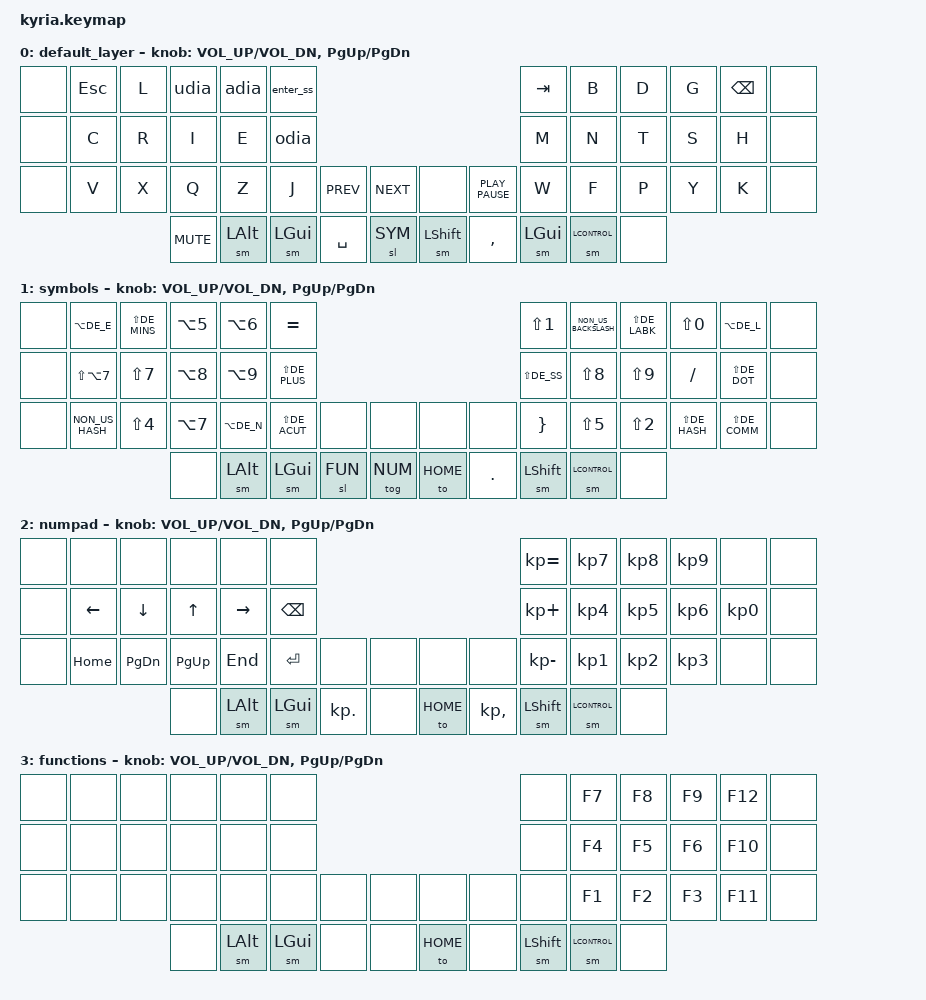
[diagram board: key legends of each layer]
/*
 * Copyright (c) 2020 The ZMK Contributors
 *
 * SPDX-License-Identifier: MIT
 */

#include <behaviors.dtsi>
#include <dt-bindings/zmk/keys.h>

/*
 * ┌───┬───┬───┬───┬───┬───┬───┬───┬───┬───┬───┬───┬───┬─────┐
 * │ ^ │ 1 │ 2 │ 3 │ 4 │ 5 │ 6 │ 7 │ 8 │ 9 │ 0 │ ß │ ´ │     │
 * ├───┴─┬─┴─┬─┴─┬─┴─┬─┴─┬─┴─┬─┴─┬─┴─┬─┴─┬─┴─┬─┴─┬─┴─┬─┴─┬───┤
 * │     │ Q │ W │ E │ R │ T │ Z │ U │ I │ O │ P │ Ü │ + │   │
 * ├─────┴┬──┴┬──┴┬──┴┬──┴┬──┴┬──┴┬──┴┬──┴┬──┴┬──┴┬──┴┬──┴┐  │
 * │      │ A │ S │ D │ F │ G │ H │ J │ K │ L │ Ö │ Ä │ # │  │
 * ├────┬─┴─┬─┴─┬─┴─┬─┴─┬─┴─┬─┴─┬─┴─┬─┴─┬─┴─┬─┴─┬─┴─┬─┴───┴──┤
 * │    │ < │ Y │ X │ C │ V │ B │ N │ M │ , │ . │ - │        │
 * ├────┴┬──┴─┬─┴───┼───┴───┴───┴───┴───┴───┼───┴─┬─┴──┬─────┤
 * │     │    │     │                       │     │    │     │
 * └─────┴────┴─────┴───────────────────────┴─────┴────┴─────┘
 */
// Row 1
#define DE_CIRC GRAVE // ^ (dead)
#define DE_SS   MINUS // ß
#define DE_ACUT EQUAL // ´ (dead)

// Row 2
#define DE_Q    Q            // Q
#define DE_W    W            // W
#define DE_E    E            // E
#define DE_R    R            // R
#define DE_T    T            // T
#define DE_Z    Y            // Z
#define DE_U    U            // U
#define DE_I    I            // I
#define DE_O    O            // O
#define DE_P    P            // P
#define DE_UDIA LEFT_BRACKET // Ü
#define DE_PLUS RIGHT_BRACE  // +

// Row 3
#define DE_A    A            // A
#define DE_S    S            // S
#define DE_D    D            // D
#define DE_F    F            // F
#define DE_G    G            // G
#define DE_H    H            // H
#define DE_J    J            // J
#define DE_K    K            // K
#define DE_L    L            // L
#define DE_ODIA SEMICOLON    // Ö
#define DE_ADIA SINGLE_QUOTE // Ä
#define DE_HASH NON_US_HASH  // #

// Row 4
#define DE_LABK NON_US_BACKSLASH // <
#define DE_Y    Z                // Y
#define DE_X    X                // X
#define DE_C    C                // C
#define DE_V    V                // V
#define DE_B    B                // B
#define DE_N    N                // N
#define DE_M    M                // M
#define DE_COMM COMMA            // ,
#define DE_DOT  PERIOD           // .
#define DE_MINS SLASH            // -

/* Shifted symbols
 * ┌───┬───┬───┬───┬───┬───┬───┬───┬───┬───┬───┬───┬───┬─────┐
 * │ ° │ ! │ " │ § │ $ │ % │ & │ / │ ( │ ) │ = │ ? │ ` │     │
 * ├───┴─┬─┴─┬─┴─┬─┴─┬─┴─┬─┴─┬─┴─┬─┴─┬─┴─┬─┴─┬─┴─┬─┴─┬─┴─┬───┤
 * │     │   │   │   │   │   │   │   │   │   │   │   │ * │   │
 * ├─────┴┬──┴┬──┴┬──┴┬──┴┬──┴┬──┴┬──┴┬──┴┬──┴┬──┴┬──┴┬──┴┐  │
 * │      │   │   │   │   │   │   │   │   │   │   │   │ ' │  │
 * ├────┬─┴─┬─┴─┬─┴─┬─┴─┬─┴─┬─┴─┬─┴─┬─┴─┬─┴─┬─┴─┬─┴─┬─┴───┴──┤
 * │    │ > │   │   │   │   │   │   │   │ ; │ : │ _ │        │
 * ├────┴┬──┴─┬─┴───┼───┴───┴───┴───┴───┴───┼───┴─┬─┴──┬─────┤
 * │     │    │     │                       │     │    │     │
 * └─────┴────┴─────┴───────────────────────┴─────┴────┴─────┘
 */
// Row 1
#define DE_DEG  LS(DE_CIRC) // °
#define DE_EXLM LS(NUMBER_1)    // !
#define DE_DQUO LS(NUMBER_2)    // "
#define DE_SECT LS(NUMBER_3)    // §
#define DE_DLR  LS(NUMBER_4)    // $
#define DE_PERC LS(NUMBER_5)    // %
#define DE_AMPR LS(NUMBER_6)    // &
#define DE_SLSH LS(NUMBER_7)    // /
#define DE_LPRN LS(NUMBER_8)    // (
#define DE_RPRN LS(NUMBER_9)    // )
#define DE_EQL  LS(NUMBER_0)    // =
#define DE_QUES LS(DE_SS)   // ?
#define DE_GRV  LS(DE_ACUT) // ` (dead)
// Row 2
#define DE_ASTR LS(DE_PLUS) // *
// Row 3
#define DE_QUOT LS(DE_HASH) // '
// Row 4
#define DE_RABK LS(DE_LABK) // >
#define DE_SCLN LS(DE_COMM) // ;
#define DE_COLN LS(DE_DOT)  // :
#define DE_UNDS LS(DE_MINS) // _

/* Alted symbols
 * ┌───┬───┬───┬───┬───┬───┬───┬───┬───┬───┬───┬───┬───┬─────┐
 * │ „ │ ¡ │ “ │ ¶ │ ¢ │ [ │ ] │ | │ { │ } │ ≠ │ ¿ │   │     │
 * ├───┴─┬─┴─┬─┴─┬─┴─┬─┴─┬─┴─┬─┴─┬─┴─┬─┴─┬─┴─┬─┴─┬─┴─┬─┴─┬───┤
 * │     │ « │ ∑ │ € │ ® │ † │ Ω │ ¨ │ ⁄ │ Ø │ π │ • │ ± │   │
 * ├─────┴┬──┴┬──┴┬──┴┬──┴┬──┴┬──┴┬──┴┬──┴┬──┴┬──┴┬──┴┬──┴┐  │
 * │      │ Å │ ‚ │ ∂ │ ƒ │ © │ ª │ º │ ∆ │ @ │ Œ │ Æ │ ‘ │  │
 * ├────┬─┴─┬─┴─┬─┴─┬─┴─┬─┴─┬─┴─┬─┴─┬─┴─┬─┴─┬─┴─┬─┴─┬─┴───┴──┤
 * │    │ ≤ │ ¥ │ ≈ │ Ç │ √ │ ∫ │ ~ │ µ │ ∞ │ … │ – │        │
 * ├────┴┬──┴─┬─┴───┼───┴───┴───┴───┴───┴───┼───┴─┬─┴──┬─────┤
 * │     │    │     │                       │     │    │     │
 * └─────┴────┴─────┴───────────────────────┴─────┴────┴─────┘
 */
// Row 1
#define DE_DLQU LA(DE_CIRC) // „
#define DE_IEXL LA(NUMBER_1)    // ¡
#define DE_LDQU LA(NUMBER_2)    // “
#define DE_PILC LA(NUMBER_3)    // ¶
#define DE_CENT LA(NUMBER_4)    // ¢
#define DE_LBRC LA(NUMBER_5)    // [
#define DE_RBRC LA(NUMBER_6)    // ]
#define DE_PIPE LA(NUMBER_7)    // |
#define DE_LCBR LA(NUMBER_8)    // {
#define DE_RCBR LA(NUMBER_9)    // }
#define DE_NEQL LA(NUMBER_0)    // ≠
#define DE_IQUE LA(DE_SS)   // ¿
// Row 2
#define DE_LDAQ LA(DE_Q)    // «
#define DE_NARS LA(DE_W)    // ∑
#define DE_EURO LA(DE_E)    // €
#define DE_REGD LA(DE_R)    // ®
#define DE_DAGG LA(DE_T)    // †
#define DE_OMEG LA(DE_Z)    // Ω
#define DE_DIAE LA(DE_U)    // ¨ (dead)
#define DE_FRSL LA(DE_I)    // ⁄
#define DE_OSTR LA(DE_O)    // Ø
#define DE_PI   LA(DE_P)    // π
#define DE_BULT LA(DE_UDIA) // •
#define DE_PLMN LA(DE_PLUS) // ±
// Row 3
#define DE_ARNG LA(DE_A)    // Å
#define DE_SLQU LA(DE_S)    // ‚
#define DE_PDIF LA(DE_D)    // ∂
#define DE_FHK  LA(DE_F)    // ƒ
#define DE_COPY LA(DE_G)    // ©
#define DE_FORD LA(DE_H)    // ª
#define DE_MORD LA(DE_J)    // º
#define DE_INCR LA(DE_K)    // ∆
#define DE_AT   LA(DE_L)    // @
#define DE_OE   LA(DE_ODIA) // Œ
#define DE_AE   LA(DE_ADIA) // Æ
#define DE_LSQU LA(DE_HASH) // ‘
// Row 4
#define DE_LTEQ LA(DE_LABK) // ≤
#define DE_YEN  LA(DE_Y)    // ¥
#define DE_AEQL LA(DE_X)    // ≈
#define DE_CCCE LA(DE_C)    // Ç
#define DE_SQRT LA(DE_V)    // √
#define DE_INTG LA(DE_B)    // ∫
#define DE_TILD LA(DE_N)    // ~ (dead)
#define DE_MICR LA(DE_M)    // µ
#define DE_INFN LA(DE_COMM) // ∞
#define DE_ELLP LA(DE_DOT)  // …
#define DE_NDSH LA(DE_MINS) // –

/* Shift+Alted symbols
 * ┌───┬───┬───┬───┬───┬───┬───┬───┬───┬───┬───┬───┬───┬─────┐
 * │   │ ¬ │ ” │   │ £ │ ﬁ │   │ \ │ ˜ │ · │ ¯ │ ˙ │ ˚ │     │
 * ├───┴─┬─┴─┬─┴─┬─┴─┬─┴─┬─┴─┬─┴─┬─┴─┬─┴─┬─┴─┬─┴─┬─┴─┬─┴─┬───┤
 * │     │ » │   │ ‰ │ ¸ │ ˝ │ ˇ │ Á │ Û │   │ ∏ │   │  │   │
 * ├─────┴┬──┴┬──┴┬──┴┬──┴┬──┴┬──┴┬──┴┬──┴┬──┴┬──┴┬──┴┬──┴┐  │
 * │      │   │ Í │ ™ │ Ï │ Ì │ Ó │ ı │   │ ﬂ │   │   │   │  │
 * ├────┬─┴─┬─┴─┬─┴─┬─┴─┬─┴─┬─┴─┬─┴─┬─┴─┬─┴─┬─┴─┬─┴─┬─┴───┴──┤
 * │    │ ≥ │ ‡ │ Ù │   │ ◊ │ ‹ │ › │ ˘ │ ˛ │ ÷ │ — │        │
 * ├────┴┬──┴─┬─┴───┼───┴───┴───┴───┴───┴───┼───┴─┬─┴──┬─────┤
 * │     │    │     │                       │     │    │     │
 * └─────┴────┴─────┴───────────────────────┴─────┴────┴─────┘
 */
// Row 1
#define DE_NOT  LS(LA(NUMBER_1))    // ¬
#define DE_RDQU LS(LA(NUMBER_2))    // ”
#define DE_PND  LS(LA(NUMBER_4))    // £
#define DE_FI   LS(LA(NUMBER_5))    // ﬁ
#define DE_BSLS LS(LA(NUMBER_7))    // (backslash)
#define DE_STIL LS(LA(NUMBER_8))    // ˜
#define DE_MDDT LS(LA(NUMBER_9))    // ·
#define DE_MACR LS(LA(NUMBER_0))    // ¯
#define DE_DOTA LS(LA(DE_SS))   // ˙
#define DE_RNGA LS(LA(DE_ACUT)) // ˚
// Row 2
#define DE_RDAQ LS(LA(DE_Q))    // »
#define DE_PERM LS(LA(DE_E))    // ‰
#define DE_CEDL LS(LA(DE_R))    // ¸
#define DE_DACU LS(LA(DE_T))    // ˝
#define DE_CARN LS(LA(DE_Z))    // ˇ
#define DE_AACU LS(LA(DE_U))    // Á
#define DE_UCIR LS(LA(DE_I))    // Û
#define DE_NARP LS(LA(DE_P))    // ∏
#define DE_APPL LS(LA(DE_PLUS)) //  (Apple logo)
// Row 3
#define DE_IACU LS(LA(DE_S))    // Í
#define DE_TM   LS(LA(DE_D))    // ™
#define DE_IDIA LS(LA(DE_F))    // Ï
#define DE_IGRV LS(LA(DE_G))    // Ì
#define DE_OACU LS(LA(DE_H))    // Ó
#define DE_DLSI LS(LA(DE_J))    // ı
#define DE_FL   LS(LA(DE_L))    // ﬂ
// Row 4
#define DE_GTEQ LS(LA(DE_LABK)) // ≥
#define DE_DDAG LS(LA(DE_Y))    // ‡
#define DE_UGRV LS(LA(DE_X))    // Ù
#define DE_LOZN LS(LA(DE_V))    // ◊
#define DE_LSAQ LS(LA(DE_B))    // ‹
#define DE_RSAQ LS(LA(DE_N))    // ›
#define DE_BREV LS(LA(DE_M))    // ˘
#define DE_OGON LS(LA(DE_COMM)) // ˛
#define DE_DIV  LS(LA(DE_DOT))  // ÷

#define DEFAULT 0
#define SYM     1
#define NUM     2
#define FUN     3

#define NONE 0

/ {

     behaviors {
        adia: adia {
            compatible = "zmk,behavior-mod-morph";
            label = "adia";
            #binding-cells = <0>;
            bindings = <&kp A>, <&kp DE_ADIA>;
            mods = <(MOD_RALT)>;
        };
        odia: odia {
            compatible = "zmk,behavior-mod-morph";
            label = "odia";
            #binding-cells = <0>;
            bindings = <&kp O>, <&kp DE_ODIA>;
            mods = <(MOD_RALT)>;
        };
        udia: udia {
            compatible = "zmk,behavior-mod-morph";
            label = "udia";
            #binding-cells = <0>;
            bindings = <&kp U>, <&kp DE_UDIA>;
            mods = <(MOD_RALT)>;
        };
        enter_ss: enter_ss {
            compatible = "zmk,behavior-mod-morph";
            label = "enter_ss";
            #binding-cells = <0>;
            bindings = <&kp ENTER>, <&kp DE_SS>;
            mods = <(MOD_RALT)>;
        };
    };

    keymap {
        compatible = "zmk,keymap";

        default_layer {
            bindings = <
            &none &kp ESCAPE &kp DE_L &udia      &adia    &enter_ss                                                  &kp TAB  &kp DE_B     &kp DE_D &kp DE_G &kp BACKSPACE &none
            &none &kp DE_C   &kp DE_R &kp DE_I   &kp DE_E &odia                                                      &kp DE_M &kp DE_N     &kp DE_T &kp DE_S &kp DE_H      &none
            &none &kp DE_V   &kp DE_X &kp DE_Q   &kp DE_Y &kp DE_J &kp K_PREV &kp K_NEXT &none      &kp K_PLAY_PAUSE &kp DE_W &kp DE_F     &kp DE_P &kp DE_Z &kp DE_K      &none
                                      &kp K_MUTE &sm LALT &sm LGUI &kp SPACE  &sl SYM    &sm LSHIFT &kp DE_COMM      &sm LGUI &sm LCONTROL &none
            >;

            sensor-bindings = <&inc_dec_kp C_VOL_UP C_VOL_DN &inc_dec_kp PG_UP PG_DN>;
        };

        symbols {
            bindings =< 
            &none &kp DE_EURO &kp DE_UNDS &kp DE_LBRC &kp DE_RBRC &kp DE_ACUT                                      &kp DE_EXLM &kp DE_LABK &kp DE_RABK &kp DE_EQL  &kp DE_AT   &none
            &none &kp DE_BSLS &kp DE_SLSH &kp DE_LCBR &kp DE_RCBR &kp DE_ASTR                                      &kp DE_QUES &kp DE_LPRN &kp DE_RPRN &kp DE_MINS &kp DE_COLN &none
            &none &kp DE_HASH &kp DE_DLR  &kp DE_PIPE &kp DE_TILD &kp DE_GRV  &none   &none    &none    &none      &kp DE_PLUS &kp DE_PERC &kp DE_DQUO &kp DE_QUOT &kp DE_SCLN &none
                                          &none       &sm LALT    &sm LGUI    &sl FUN &tog NUM &to HOME &kp DE_DOT &sm LSHIFT  &sm LCONTROL &none
            >;

            sensor-bindings = <&inc_dec_kp C_VOL_UP C_VOL_DN &inc_dec_kp PG_UP PG_DN>;
        };

        numpad {
            bindings =< 
            &none &none     &none         &none       &none       &none                                                &kp KP_EQUAL &kp KP_N7    &kp KP_N8 &kp KP_N9 &none     &none
            &none &kp LEFT  &kp DOWN      &kp UP      &kp RIGHT   &kp BACKSPACE                                        &kp KP_PLUS  &kp KP_N4    &kp KP_N5 &kp KP_N6 &kp KP_N0 &none
            &none &kp HOME  &kp PAGE_DOWN &kp PAGE_UP &kp END     &kp ENTER     &none      &none &none    &none        &kp KP_MINUS &kp KP_N1    &kp KP_N2 &kp KP_N3 &none     &none
                                          &none       &sm LALT    &sm LGUI      &kp KP_DOT &none &to HOME &kp KP_COMMA &sm LSHIFT   &sm LCONTROL &none
            >;

            sensor-bindings = <&inc_dec_kp C_VOL_UP C_VOL_DN &inc_dec_kp PG_UP PG_DN>;
        };

        functions {
            bindings =< 
            &none &none &none &none &none &none                                  &none &kp F7     &kp F8       &kp F9       &kp F12 &none
            &none &none &none &none &none &none                                  &none &kp F4     &kp F5       &kp F6       &kp F10 &none
            &none &none &none &none &none &none    &none    &none &none &none    &none &kp F1     &kp F2       &kp F3       &kp F11 &none
                                    &none &sm LALT &sm LGUI &none &none &to HOME &none &sm LSHIFT &sm LCONTROL &none
            >;

            sensor-bindings = <&inc_dec_kp C_VOL_UP C_VOL_DN &inc_dec_kp PG_UP PG_DN>;
        };
    };
};
